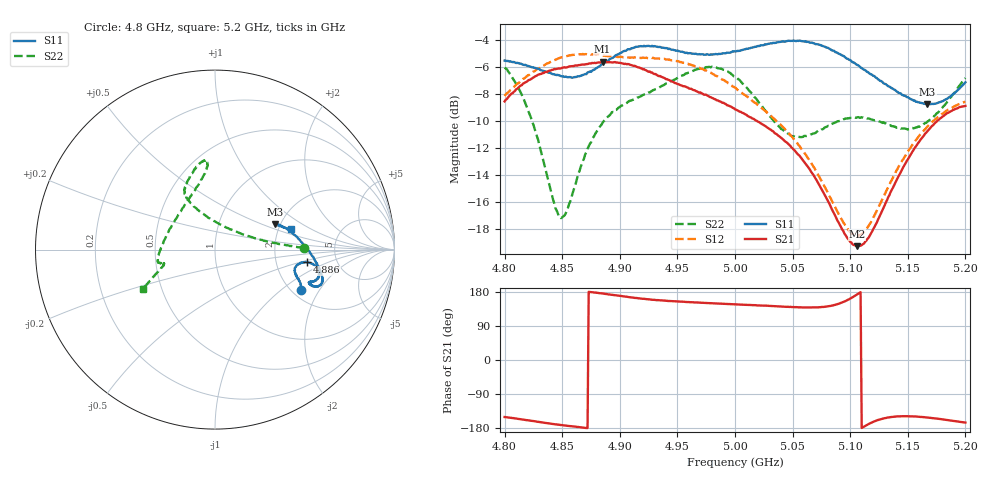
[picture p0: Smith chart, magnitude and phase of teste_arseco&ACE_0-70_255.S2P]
! Network Analyzer HP8722D
! Hewlett-Packard
! Data name: Linha & Wilkinson
! Saver's name: Rodrigo Anjos
! Comments: Teste da utilização de aquisição
! continua pelo VNA HP8722D
! Time and date: 8/5/2025 14:53
!  Frequency  S11  S21  S12  S22
# HZ  S  MA R 50
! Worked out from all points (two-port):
!   401 points, 4.8 GHz to 5.2 GHz, reference 50 ohm
!   highest |S21| = -5.65 dB at 4.885 GHz (marker M1); lowest = -19.3 dB at 5.106 GHz (marker M2)
!   |S21| within 3 dB of the highest: start of sweep to 4.988 GHz
!   lowest |S11| = -8.8 dB at 5.167 GHz (marker M3), VSWR 2.14, Z = 93.8 + j30.7 ohm
!   |S11| at or under -10 dB: nowhere
!   |S22| runs from -17.2 to -6.0 dB; largest |S21 - S12| = 1.1
!   S11 on the Smith chart (normalised r, x): 4.8 GHz: 2.24, -1.39; 4.886 GHz: 3.01, -0.57; 5.2 GHz: 2.34, +0.65
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4.8e9  0.5276 -25.1  0.3725 -150.5  0.3901 9.0  0.497 1.0
4.821e9  0.5029 -20.4  0.4471 -159.5  0.466 5.9  0.3397 6.2
4.843e9  0.4694 -17.0  0.491 -169.4  0.5284 2.6  0.1568 39.1
4.848e9  0.4643 -16.0  0.4927 -171.2  0.5399 1.5  0.14 58.4
4.854e9  0.4583 -14.3  0.4977 -173.5  0.548 0.5  0.1474 82.4
4.867e9  0.4642 -10.6  0.5098 -178.1  0.5559 -1.3  0.2182 110.1
4.885e9  0.5128 -7.8  0.522 175.5  0.5508 -2.5  0.3104 117.9
4.886e9  0.5158 -7.8  0.5203 175.2  0.5499 -2.6  0.3146 118.2
4.912e9  0.5885 -11.3  0.504 164.3  0.5404 -1.8  0.3784 116.4
4.934e9  0.5924 -16.1  0.462 157.8  0.5373 -2.8  0.4187 110.4
4.973e9  0.5544 -19.1  0.3946 150.7  0.4878 -6.2  0.4972 97.8
5e9  0.5707 -20.1  0.3484 146.7  0.42 -6.2  0.4608 95.7
5.042e9  0.6207 -18.5  0.269 140.9  0.2982 1.5  0.2914 129.1
5.067e9  0.6145 -13.8  0.202 138.6  0.2178 8.9  0.2822 165.0
5.096e9  0.5404 -3.5  0.1192 155.8  0.129 36.1  0.3224 -171.9
5.106e9  0.5083 1.3  0.1086 173.1  0.1189 55.5  0.3252 -168.5
5.116e9  0.4758 6.4  0.1168 -169.1  0.1292 74.9  0.3222 -166.8
5.134e9  0.4227 15.1  0.1677 -151.2  0.1833 94.6  0.3037 -166.1
5.15e9  0.3858 20.8  0.2272 -148.4  0.2426 99.9  0.2933 -164.6
5.167e9  0.3638 23.0  0.2888 -151.8  0.3007 101.0  0.3137 -161.2
5.182e9  0.3772 20.9  0.3317 -157.4  0.3397 101.0  0.3607 -157.2
5.2e9  0.4384 14.8  0.3585 -165.2  0.3718 101.5  0.4547 -151.3
